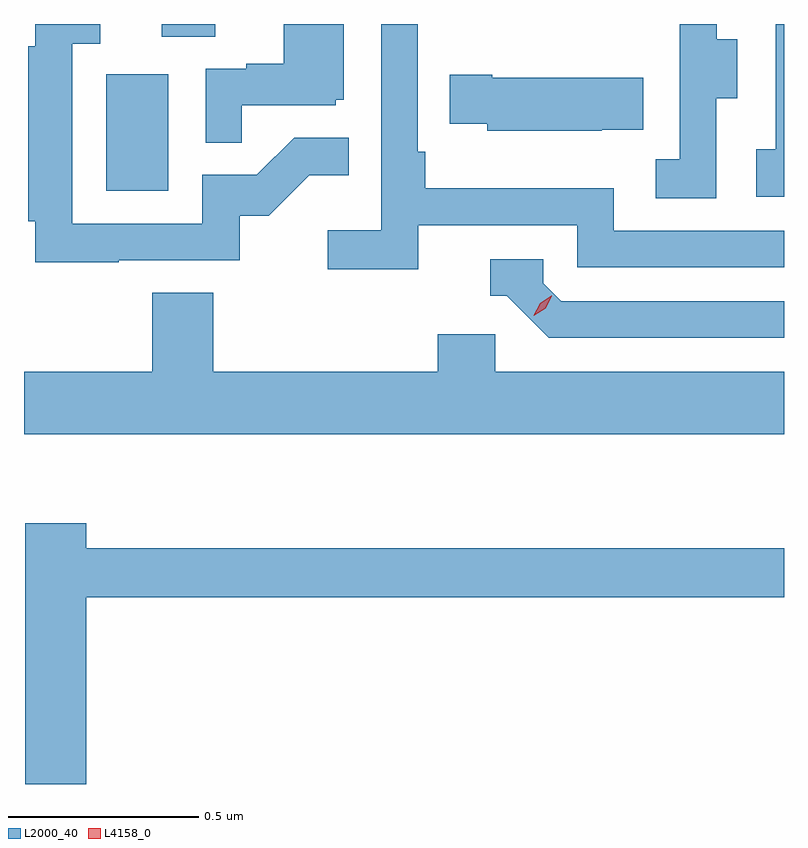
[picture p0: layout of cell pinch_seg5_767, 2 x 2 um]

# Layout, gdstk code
import gdstk
lib = gdstk.Library(unit=1e-6, precision=1e-09)
def R(c, l, rs):  # rectangles x0, y0, x1, y1
    for r in rs: c.add(gdstk.rectangle(r[:2], r[2:], *l))
def P(c, l, *ps):  # polygons
    for p in ps: c.add(gdstk.Polygon(p, *l))
L2000_40 = (2000, 40)
L4158_0 = (4158, 0)

pinch_seg5_767 = lib.new_cell('pinch_seg5_767')
R(pinch_seg5_767, L2000_40, [(836.87,904.02,837.034,904.327), (837.017,904.426,837.157,904.459)])
P(pinch_seg5_767, L2000_40, [(836.903,903.837),(837.222,903.837),(837.222,903.954),(837.298,903.954),(837.405,904.061),(837.509,904.061),(837.509,904.16),(837.365,904.16),(837.267,904.062),(837.123,904.062),(837.123,903.933),(836.781,903.933),(836.781,904.407),(836.854,904.407),(836.854,904.459),(836.684,904.459),(836.684,904.4),(836.665,904.4),(836.665,903.94),(836.684,903.94),(836.684,903.832),(836.903,903.832)],
  [(838.476,904.264),(838.531,904.264),(838.531,904.419),(838.477,904.419),(838.477,904.459),(838.379,904.459),(838.379,904.407),(838.38,904.407),(838.38,904.103),(838.317,904.103),(838.317,904),(838.476,904)],
  [(837.692,903.93),(838.11,903.93),(838.11,903.819),(838.654,903.819),(838.654,903.915),(838.206,903.915),(838.206,904.027),(837.71,904.027),(837.71,904.123),(837.69,904.123),(837.69,904.459),(837.594,904.459),(837.594,903.916),(837.453,903.916),(837.453,903.814),(837.692,903.814)],
  [(837.227,904.245),(837.474,904.245),(837.474,904.26),(837.496,904.26),(837.496,904.459),(837.338,904.459),(837.338,904.354),(837.239,904.354),(837.239,904.341),(837.132,904.341),(837.132,904.147),(837.227,904.147)],
  [(838.654,904.459),(838.632,904.459),(838.632,904.13),(838.581,904.13),(838.581,904.005),(838.654,904.005)],
  [(838.175,904.181),(838.283,904.181),(838.283,904.318),(837.886,904.318),(837.886,904.326),(837.775,904.326),(837.775,904.196),(837.873,904.196),(837.873,904.178),(838.175,904.178)],
  [(838.654,903.729),(838.068,903.729),(838.02,903.777),(838.02,903.84),(837.881,903.84),(837.881,903.744),(837.924,903.744),(838.035,903.633),(838.654,903.633)],
  [(838.654,903.544),(837.894,903.544),(837.894,903.642),(837.743,903.642),(837.743,903.544),(837.152,903.544),(837.152,903.752),(836.992,903.752),(836.992,903.544),(836.654,903.544),(836.654,903.38),(838.654,903.38)],
  [(836.818,902.95),(838.654,902.95),(838.654,903.079),(836.818,903.079),(836.818,903.145),(836.657,903.145),(836.657,902.459),(836.818,902.459)])
P(pinch_seg5_767, L4158_0, [(837.996,903.691),(837.996,903.692),(838.012,903.724),(838.042,903.744),(838.043,903.744),(838.043,903.744),(838.027,903.711),(837.996,903.691)])

lib.write_gds('pinch_seg5_767.gds')
